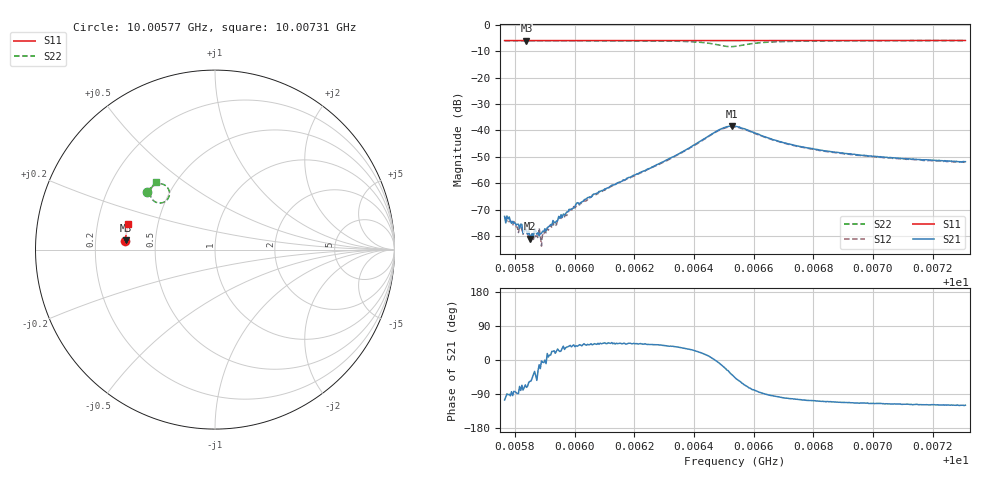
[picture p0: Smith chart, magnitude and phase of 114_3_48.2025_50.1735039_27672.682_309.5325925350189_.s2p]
#  HZ  S  RI  R  50.00
! Rohde & Schwarz Vector Network Analyzer
! Rohde-Schwarz,ZNB20-2Port,1311601062101988,3.16
! Created: UTC 3/20/2024, 11:41:08 AM
! freq[Hz]  re:S11  im:S11  re:S21  im:S21  re:S12  im:S12  re:S22  im:S22
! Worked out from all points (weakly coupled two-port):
!   401 points, 10.00577 GHz to 10.00731 GHz, reference 50 ohm
!   highest |S21| = -38.33 dB at 10.00653 GHz (marker M1); lowest = -81.0 dB at 10.00585 GHz (marker M2)
!   lowest |S11| = -6.0 dB at 10.00584 GHz (marker M3), VSWR 3.01, Z = 16.7 + j2.32 ohm
!   |S11| at or under -10 dB: nowhere
!   |S22| runs from -8.3 to -6.0 dB; largest |S21 - S12| = 0.00088
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1.0005765e10  -0.499 0.0473  -6.24e-05 -0.000227  -1.28e-05 -0.000217  -0.3782 0.3234
1.0005815e10  -0.4986 0.0505  4.84e-05 -0.000132  5.37e-05 -0.00014  -0.3757 0.3265
1.0005835e10  -0.4985 0.0518  5.33e-05 -0.000118  3.82e-05 -0.000118  -0.3748 0.3278
1.0005839e10  -0.4984 0.0521  4.08e-05 -0.000128  5.4e-05 -0.000112  -0.3745 0.328
1.000585e10  -0.4984 0.0528  4.91e-05 -7.41e-05  6.64e-05 -7.79e-05  -0.3737 0.3287
1.0005873e10  -0.4984 0.0544  6.37e-05 -8.73e-05  9.45e-05 -3.85e-05  -0.3725 0.3301
1.0005881e10  -0.4982 0.0548  9.91e-05 -2.18e-05  0.000125 -6.69e-05  -0.3722 0.3306
1.0005897e10  -0.4984 0.0559  0.000121 -1.45e-05  0.000111 -3.03e-06  -0.3713 0.3318
1.000592e10  -0.4983 0.0574  0.000161 3.77e-05  0.000163 2.39e-05  -0.3698 0.3331
1.0005931e10  -0.4981 0.0581  0.000167 7.61e-05  0.000139 6.48e-05  -0.3693 0.3339
1.0005951e10  -0.498 0.0593  0.0002 8.24e-05  0.000203 0.000113  -0.3681 0.3352
1.0006024e10  -0.4976 0.0642  0.000352 0.000268  0.000299 0.000285  -0.3634 0.3402
1.0006136e10  -0.4967 0.0715  0.000701 0.000634  0.000649 0.000685  -0.3544 0.3485
1.0006283e10  -0.4956 0.0811  0.0018 0.0015  0.00168 0.00152  -0.336 0.3609
1.000648e10  -0.4927 0.0936  0.00993 -0.000898  0.00971 -0.000351  -0.2561 0.3293
1.0006526e10  -0.4922 0.0959  0.00956 -0.00744  0.00962 -0.00666  -0.2727 0.2718
1.0006538e10  -0.4922 0.0963  0.00819 -0.00866  0.00844 -0.00797  -0.2868 0.2633
1.0006623e10  -0.4921 0.1018  0.000603 -0.00812  0.000983 -0.00793  -0.3548 0.2882
1.0006708e10  -0.4915 0.1071  -0.00106 -0.00566  -0.000741 -0.00559  -0.3608 0.3193
1.0006796e10  -0.4903 0.1131  -0.00133 -0.00435  -0.00112 -0.0043  -0.3566 0.3373
1.0007055e10  -0.4868 0.1294  -0.00134 -0.00277  -0.00117 -0.00277  -0.3411 0.3632
1.000731e10  -0.4828 0.1454  -0.00125 -0.00224  -0.00113 -0.00223  -0.327 0.3792
